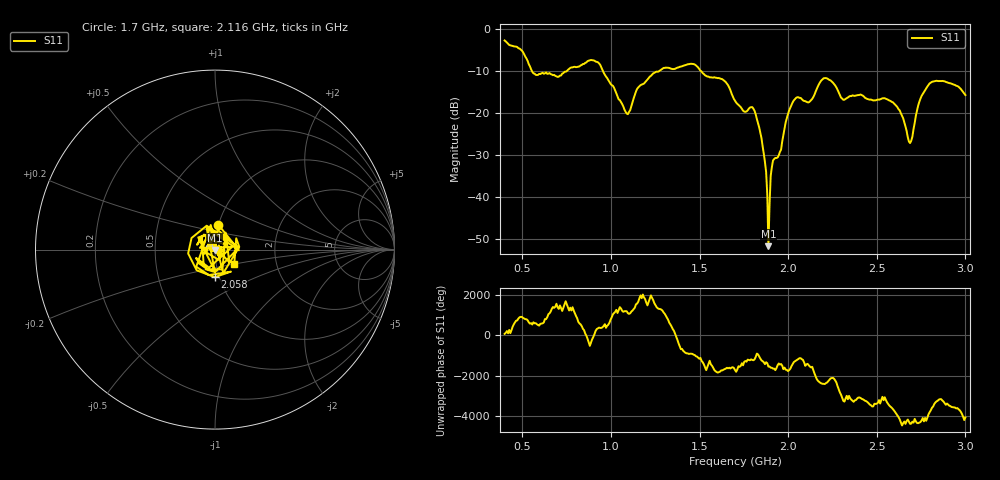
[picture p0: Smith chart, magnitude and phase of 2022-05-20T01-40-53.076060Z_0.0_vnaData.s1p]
!Created with skrf (http://scikit-rf.org).
# Hz S RI R 50.0
!freq ReS11 ImS11
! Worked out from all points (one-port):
!   401 points, 400 MHz to 3 GHz, reference 50 ohm
!   lowest |S11| = -51.6 dB at 1.889 GHz (marker M1), VSWR 1.01, Z = 49.9 - j0.249 ohm
!   |S11| at or under -10 dB: 553.9 MHz to 752.2 MHz (198.4 MHz wide, 30.4 % of centre); 954.3 MHz to 1.274 GHz (319.3 MHz wide, 28.7 % of centre); 1.507 GHz to end of sweep
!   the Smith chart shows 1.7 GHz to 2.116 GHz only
!   S11 on the Smith chart (normalised r, x): 1.7 GHz: 1.00, +0.28; 2.058 GHz: 0.95, -0.30; 2.116 GHz: 1.22, -0.20
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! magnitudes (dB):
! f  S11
! 400 MHz  -2.8
! 497.5 MHz  -5.2
! 569 MHz  -10.6
! 725 MHz  -10.6
! 913.5 MHz  -7.8
! 1.05 GHz  -16.9
! 1.095 GHz  -20.3
! 1.232 GHz  -10.9
! 1.375 GHz  -9.2
! 1.629 GHz  -12.0
! 1.7 GHz  -17.1
! 1.817 GHz  -20.3
! 1.856 GHz  -27.9
! 1.889 GHz  -51.6
! 1.901 GHz  -34.9
! 1.915 GHz  -31.3
! 1.954 GHz  -29.2
! 2.025 GHz  -17.5
! 2.058 GHz  -16.3
! 2.116 GHz  -17.5
! 2.207 GHz  -11.7
! 2.35 GHz  -16.0
! 2.591 GHz  -17.4
! 2.675 GHz  -25.8
! 2.695 GHz  -26.6
! 2.747 GHz  -16.6
! 2.805 GHz  -12.8
! 3 GHz  -15.7
